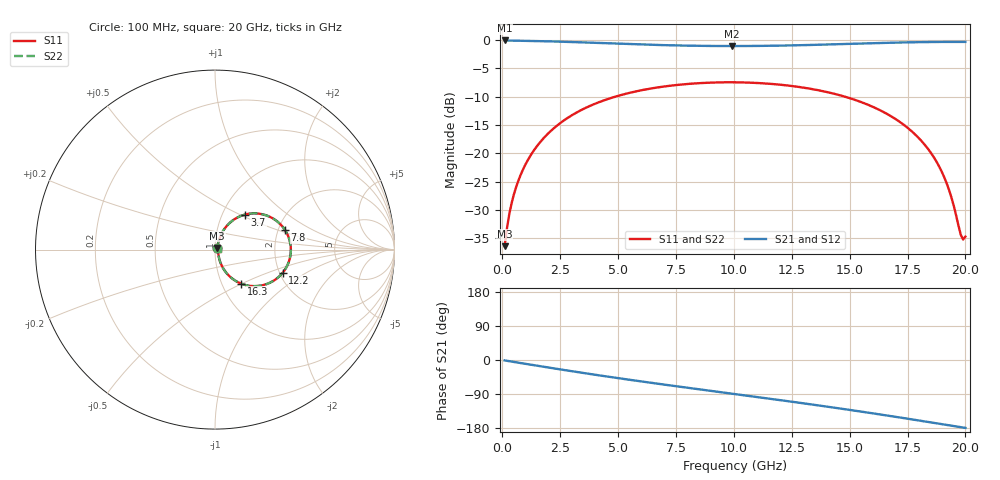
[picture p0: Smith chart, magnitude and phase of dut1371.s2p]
! Touchstone file exported from HFSS 2026.1.0
!  File:  C:/ffzhzh/LocalFiles/Ansys_Project_Files/temp_train_TSV_RDL_1371_1783346055_46376.aedt
!  Generated:  10:06:52 PM Jul  6, 2026
!  Design:  TSV_RDL
!  Project:  temp_train_TSV_RDL_1371_1783346055_46376
! Variables:
!  h_bsmrdl = 4.34um
!  h_ox = 20um
!  h_rdl = 5um
!  h_sub = 52.84um
!  h_tmrdl = 2.52um
!  h_tsv = 52.84um
!  h_via = 3um
!  l_bsmrdl = 606.53um
!  l_sub = 3228.43um
!  l_tmrdl = 212.46um
!  m_sub = 200um
!  pitch = 44.51um
!  r_tsv = 7.24um
!  s_tmrdl = 10um
!  w_bsmrdl = 25.32um
!  w_sub = 500um
!  w_tmrdl = 27.68um
!  x_tsv_center1 = 226.3um
!  x_tsv_center2 = 858.15um
!  x_tsv_center3 = 1098.29um
!  x_tsv_center4 = 1730.14um
!  x_tsv_center5 = 1970.28um
!  x_tsv_center6 = 2602.13um
# GHz S MA R 50.000000
! Terminal data exported
! Port[1] = TM_RDL1_1_T1
! Port[2] = TM_RDL5_1_T1
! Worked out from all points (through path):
!   200 points, 100 MHz to 20 GHz, reference 50 ohm
!   highest |S21| = -0.11 dB at 100 MHz (marker M1); lowest = -1.1 dB at 9.9 GHz (marker M2)
!   group delay of S21, straight-line fit = 24.1 ps
!   lowest |S11| = -36.4 dB at 100 MHz (marker M3), VSWR 1.03, Z = 51.3 + j0.889 ohm
!   |S11| at or under -10 dB: start of sweep to 4.893 GHz; 14.78 GHz to end of sweep
!   |S22| runs from -36.4 to -7.5 dB; largest |S21 - S12| = 1.3e-13
!   S11 on the Smith chart (normalised r, x): 100 MHz: 1.03, +0.02; 3.7 GHz: 1.28, +0.53; 7.8 GHz: 2.18, +0.57; 12.2 GHz: 2.08, -0.64; 16.3 GHz: 1.23, -0.50; 20 GHz: 1.04, +0.01
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0.1  0.0152 34.8  0.9876 -1.1  0.9876 -1.1  0.0152 34.8
! Gamma 0 0 0 0
! Port Impedance 50 0 50 0
0.3  0.02892 58.3  0.9858 -3.2  0.9858 -3.2  0.02892 58.3
0.5  0.04337 64.6  0.9841 -5.2  0.9841 -5.2  0.04337 64.6
0.8  0.06512 67.7  0.9819 -8.1  0.9819 -8.1  0.06512 67.7
1.1  0.08695 67.9  0.9796 -11.1  0.9796 -11.1  0.08695 67.9
2.1  0.1578 62.5  0.9693 -20.9  0.9693 -20.9  0.1578 62.5
3.5  0.2458 51.1  0.949 -34.3  0.949 -34.3  0.2458 51.1
3.7  0.257 49.4  0.9458 -36.1  0.9458 -36.1  0.257 49.4
6.8  0.3832 23.6  0.9002 -63.3  0.9002 -63.3  0.3832 23.6
7.8  0.4051 15.6  0.8904 -71.6  0.8904 -71.6  0.4051 15.6
9.9  0.4226 -0.8  0.8817 -88.7  0.8817 -88.7  0.4226 -0.9
10.1  0.4224 -2.4  0.8817 -90.3  0.8817 -90.3  0.4224 -2.4
12.2  0.3986 -18.9  0.8909 -107.5  0.8909 -107.5  0.3986 -18.9
13.4  0.3677 -28.5  0.9024 -117.7  0.9024 -117.7  0.3677 -28.5
16.3  0.2405 -52.2  0.9379 -143.5  0.9379 -143.5  0.2405 -52.3
16.7  0.2175 -55.5  0.9424 -147.3  0.9424 -147.3  0.2175 -55.5
17.8  0.1487 -63.5  0.9528 -157.7  0.9528 -157.7  0.1487 -63.6
18.7  0.08799 -67.4  0.958 -166.5  0.958 -166.5  0.08798 -67.5
19.3  0.04716 -62.9  0.9595 -172.3  0.9595 -172.3  0.04712 -63.1
19.8  0.01916 -24.2  0.9594 -177.2  0.9594 -177.2  0.019 -24.5
19.9  0.01739 -3.2  0.9593 -178.2  0.9593 -178.2  0.01721 -3.3
20  0.01846 18.6  0.959 -179.2  0.959 -179.2  0.01827 18.7
